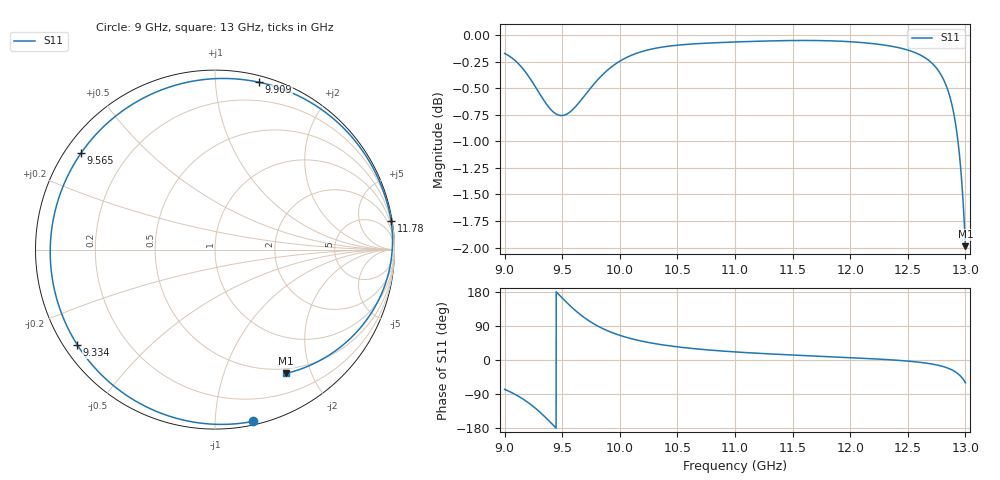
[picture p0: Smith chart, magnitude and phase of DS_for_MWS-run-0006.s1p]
! TOUCHSTONE file generated by CST DESIGN STUDIO
! Date and time: Tue Feb  4 17:22:52 2025
! Project name: C:\Work\MatlabApps\UnitCellOptimizationMatlab\CST\unitcell.cst
! Tree item: Tasks\Sweep1\SPara1\S-Parameters
! Header version: 2024
! Port assignment regex: !\s*Touchstone port\s*([0-9]+)\s*=\s*(CST MWS port|CST DES external port|CST DES block port)\s*(.+)\s* \(\"(.*)\"\)(\s*mode\s*([0-9]+))?.*
! Touchstone port assignment:
! Touchstone port 1 = CST DES external port 1 ("")
# GHz S MA R 50
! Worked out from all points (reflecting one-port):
!   4001 points, 9 GHz to 13 GHz, reference 50 ohm
!   lowest |S11| = -2.0 dB at 13 GHz (marker M1), VSWR 8.78, Z = 21.8 - j82.1 ohm
!   phase of S11 starts at -77 deg and turns -343 deg over the sweep
!   S11 on the Smith chart (normalised r, x): 9 GHz: 0.03, -1.25; 9.334 GHz: 0.04, -0.31; 9.565 GHz: 0.05, +0.32; 9.909 GHz: 0.05, +1.30; 11.78 GHz: 0, +12; 13 GHz: 0.44, -1.64
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9  0.9803 -77.5
9.105  0.9713 -93.0
9.187  0.9598 -108.6
9.262  0.9465 -125.9
9.334  0.9329 -145.3
9.378  0.9256 -158.3
9.419  0.9204 -171.0
9.459  0.9174 176.4
9.5  0.9165 163.6
9.565  0.9198 144.2
9.638  0.9283 124.5
9.714  0.9394 107.1
9.801  0.9518 90.8
9.909  0.9643 75.2
10  0.9721 65.1
10.102  0.9784 56.1
10.216  0.9832 48.2
10.5  0.9891 34.7
11  0.9925 21.3
11.5  0.9941 13.1
11.777  0.9939 9.3
12  0.9928 6.2
12.5  0.9839 -2.9
12.709  0.9701 -10.6
12.854  0.9398 -22.1
12.934  0.8928 -35.8
12.96  0.8646 -43.1
13  0.7955 -60.1
